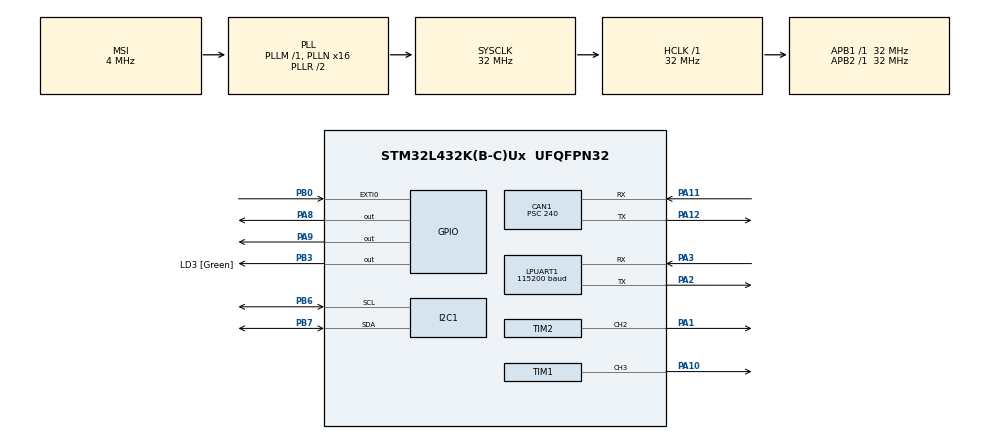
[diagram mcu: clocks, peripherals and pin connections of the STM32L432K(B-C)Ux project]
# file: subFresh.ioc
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CAN1.BS1=CAN_BS1_2TQ
CAN1.BS2=CAN_BS2_3TQ
CAN1.CalculateBaudRate=22222
CAN1.CalculateTimeBit=45000
CAN1.CalculateTimeQuantum=7500.0
CAN1.Prescaler=240
I2C1.Timing=0x00B07CB4
LPUART1.BaudRate=115200
LPUART1.WordLength=UART_WORDLENGTH_8B
Mcu.Family=STM32L4
Mcu.Name=STM32L432K(B-C)Ux
Mcu.Package=UFQFPN32
NVIC.CAN1_RX0_IRQn=true\:0\:0\:false\:false\:true\:true\:true\:true
NVIC.CAN1_RX1_IRQn=true\:0\:0\:false\:false\:true\:true\:true\:true
NVIC.CAN1_TX_IRQn=true\:0\:0\:false\:false\:true\:true\:true\:true
NVIC.EXTI0_IRQn=true\:0\:0\:false\:false\:true\:true\:true\:true
NVIC.PriorityGroup=NVIC_PRIORITYGROUP_4
NVIC.TIM6_DAC_IRQn=true\:0\:0\:false\:false\:true\:true\:true\:true
PA0.GPIO_Label=MCO [High speed clock in]
PA0.Signal=RCC_CK_IN
PA1.Signal=S_TIM2_CH2
PA10.Signal=S_TIM1_CH3
PA11.GPIO_PuPd=GPIO_PULLUP
PA11.Mode=CAN_Activate
PA11.Signal=CAN1_RX
PA12.Mode=CAN_Activate
PA12.Signal=CAN1_TX
PA13\ (JTMS-SWDIO).GPIO_Label=SWDIO
PA13\ (JTMS-SWDIO).Signal=SYS_JTMS-SWDIO
PA14\ (JTCK-SWCLK).GPIO_Label=SWCLK
PA14\ (JTCK-SWCLK).Signal=SYS_JTCK-SWCLK
PA15\ (JTDI).GPIO_Label=VCP_RX
PA15\ (JTDI).Signal=USART2_RX
PA2.Mode=Asynchronous
PA2.Signal=LPUART1_TX
PA3.Mode=Asynchronous
PA3.Signal=LPUART1_RX
PA8.GPIO_PuPd=GPIO_PULLUP
PA8.Signal=GPIO_Output
PA9.GPIO_PuPd=GPIO_PULLUP
PA9.Signal=GPIO_Output
PB0.Signal=GPXTI0
PB3\ (JTDO-TRACESWO).GPIO_Label=LD3 [Green]
PB3\ (JTDO-TRACESWO).Signal=GPIO_Output
PB6.Mode=I2C
PB6.Signal=I2C1_SCL
PB7.Mode=I2C
PB7.Signal=I2C1_SDA
PC14-OSC32_IN\ (PC14).Signal=RCC_OSC32_IN
PC15-OSC32_OUT\ (PC15).Signal=RCC_OSC32_OUT
ProjectManager.HeapSize=0x200
ProjectManager.StackSize=0x400
ProjectManager.TargetToolchain=STM32CubeIDE
RCC.AHBFreq_Value=32000000
RCC.APB1Freq_Value=32000000
RCC.APB1TimFreq_Value=32000000
RCC.APB2Freq_Value=32000000
RCC.APB2TimFreq_Value=32000000
RCC.CortexFreq_Value=32000000
RCC.HCLKFreq_Value=32000000
RCC.HSE_VALUE=8000000
RCC.HSI16_VALUE=16000000
RCC.HSI48_VALUE=48000000
RCC.HSI_VALUE=16000000
RCC.LSE_VALUE=32768
RCC.MSI_VALUE=4000000
RCC.PLLMUL=RCC_PLLMUL_4
RCC.PLLN=16
RCC.SYSCLKFreq_VALUE=32000000
RCC.SYSCLKSource=RCC_SYSCLKSOURCE_PLLCLK
RCC.VCOOutputFreq_Value=64000000
SH.S_TIM1_CH3.0=TIM1_CH3,PWM Generation3 CH3
SH.S_TIM2_CH2.0=TIM2_CH2,PWM Generation2 CH2
TIM1.Channel-PWM\ Generation3\ CH3=TIM_CHANNEL_3
TIM1.Period=1599
TIM1.Prescaler=399
TIM2.Channel-PWM\ Generation2\ CH2=TIM_CHANNEL_2
TIM2.Period=1599
TIM2.Prescaler=399
TIM6.Period=1599
TIM6.Prescaler=16999
VP_TIM1_VS_ClockSourceINT.Mode=Internal
VP_TIM2_VS_ClockSourceINT.Mode=Internal
VP_TIM6_VS_ClockSourceINT.Mode=Enable_Timer
board=NUCLEO-L432KC

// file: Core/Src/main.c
/* USER CODE BEGIN Header */
/**
  ******************************************************************************
  * @file           : main.c
  * @brief          : Main program body
  ******************************************************************************
  * @attention
  *
  * Copyright (c) 2025 STMicroelectronics.
  * All rights reserved.
  *
  * This software is licensed under terms that can be found in the LICENSE file
  * in the root directory of this software component.
  * If no LICENSE file comes with this software, it is provided AS-IS.
  *
  ******************************************************************************
  */
/* USER CODE END Header */
#include "main.h"

/* USER CODE BEGIN Includes */
#include "thrusters.h"
#include "linearActuator.h"
#include "stdio.h"
#include "can_sub.h"
#include "gyro.h"
#include "pressure.h"
#include "flowMeter.h"
/* USER CODE END Includes */

CAN_HandleTypeDef hcan1;

I2C_HandleTypeDef hi2c1;

UART_HandleTypeDef hlpuart1;

TIM_HandleTypeDef htim1;
TIM_HandleTypeDef htim2;
TIM_HandleTypeDef htim6;

/* USER CODE BEGIN PV */
PRES_TEMP pres_temp;
uint16_t pulseCount = 0;
uint8_t readCode = 0; // 0 = reading temp, 1 = reading pressure
uint32_t D1 = 0; // D1 = pressure raw data
uint32_t D2 = 0; // D2 = temp raw data
uint32_t presTempReading = 0;
/* USER CODE END PV */

void SystemClock_Config(void);
static void MX_GPIO_Init(void);
static void MX_TIM1_Init(void);
static void MX_TIM2_Init(void);
static void MX_CAN1_Init(void);
static void MX_LPUART1_UART_Init(void);
static void MX_I2C1_Init(void);
static void MX_TIM6_Init(void);

/* USER CODE BEGIN 0 */
void HAL_TIM_PeriodElapsedCallback(TIM_HandleTypeDef *htim)
{
    if (htim->Instance == TIM6)
    {
    	if(readCode){
    		D1 = read_pressure();
    		init_temp_reading();
    		readCode = 0;
    	}
    	else{
    		D2 = read_temp();
    		init_pressure_reading();
    		readCode = 1;
    	}
    	presTempReading = calculate_temp_pressure(D2,D1);
    	uint16_t gyroReading = gyroGetReading();
    	transmit_sensor_packet(gyroReading, presTempReading, pulseCount);
    	pulseCount = 0;
    }
}

/* USER CODE END 0 */

int main(void)
{

  /* MCU Configuration--------------------------------------------------------*/

  /* Reset of all peripherals, Initializes the Flash interface and the Systick. */
  HAL_Init();

  /* Configure the system clock */
  SystemClock_Config();

  /* Initialize all configured peripherals */
  MX_GPIO_Init();
  MX_TIM1_Init();
  MX_TIM2_Init();
  MX_CAN1_Init();
  MX_LPUART1_UART_Init();
  MX_I2C1_Init();
  MX_TIM6_Init();
  /* USER CODE BEGIN 2 */
  //////// ---------------- THRUSTER INIT ------------------- ////////////
  //flash_thruster(0); DO NOT RUN
  //flash_thruster(1); DO NOT RUN
  HAL_TIM_PWM_Start(&htim2, TIM_CHANNEL_2);
  HAL_TIM_PWM_Start(&htim1, TIM_CHANNEL_3);
  init_thruster(0);
  init_thruster(1);
  /////////////////////////////////////////////////////////////////////////

  ////// ------------------ CAN INIT --------------------------/////////////
  can_setup();
  //////////////////////////////////////////////////////////////////////////

  //////// -------------- PRESSURE SENSOR INIT ----------------- ////////////
  pressure_temp_Init();
  pressure_temp_calibrate();
  ///////////////////////////////////////////////////////////////////////////////

  ////// ------------------ GYRO INIT ------------------------- ///////////
  gyro_init();
  //////////////////////////////////////////////////////////////////////////

  ////////--------------TIM6 START ------------------------------/////////////
  HAL_TIM_Base_Start_IT(&htim6); // This must happen AFTER sensor initialization!!
  ////////////////////////////////////////////////////////////////////////////

  /* USER CODE END 2 */

  /* Infinite loop */
  /* USER CODE BEGIN WHILE */
  uint8_t control =0;

  set_thruster(0); //boot sequence
  set_thruster(1);
  HAL_Delay(1000);
  stop_thruster(0);
  stop_thruster(1);
  HAL_Delay(1000);
  goUp();
  HAL_Delay(1000);
  goDown();
  HAL_Delay(1000);

  stop_thruster(0);
  stop_thruster(1);
  while (1)
  {
    /* USER CODE END WHILE */

    /* USER CODE BEGIN 3 */
	control = read_control_from_CAN();
	controlThrusterStateCAN(control);
	controlThrusterSpeedCAN(control);
	controlLinearActuatorCAN(control);
  }
  /* USER CODE END 3 */
}

void SystemClock_Config(void)
{
  RCC_OscInitTypeDef RCC_OscInitStruct = {0};
  RCC_ClkInitTypeDef RCC_ClkInitStruct = {0};

  /** Configure the main internal regulator output voltage
  */
  if (HAL_PWREx_ControlVoltageScaling(PWR_REGULATOR_VOLTAGE_SCALE1) != HAL_OK)
  {
    Error_Handler();
  }

  /** Initializes the RCC Oscillators according to the specified parameters
  * in the RCC_OscInitTypeDef structure.
  */
  RCC_OscInitStruct.OscillatorType = RCC_OSCILLATORTYPE_MSI;
  RCC_OscInitStruct.MSIState = RCC_MSI_ON;
  RCC_OscInitStruct.MSICalibrationValue = 0;
  RCC_OscInitStruct.MSIClockRange = RCC_MSIRANGE_6;
  RCC_OscInitStruct.PLL.PLLState = RCC_PLL_ON;
  RCC_OscInitStruct.PLL.PLLSource = RCC_PLLSOURCE_MSI;
  RCC_OscInitStruct.PLL.PLLM = 1;
  RCC_OscInitStruct.PLL.PLLN = 16;
  RCC_OscInitStruct.PLL.PLLP = RCC_PLLP_DIV7;
  RCC_OscInitStruct.PLL.PLLQ = RCC_PLLQ_DIV2;
  RCC_OscInitStruct.PLL.PLLR = RCC_PLLR_DIV2;
  if (HAL_RCC_OscConfig(&RCC_OscInitStruct) != HAL_OK)
  {
    Error_Handler();
  }

  /** Initializes the CPU, AHB and APB buses clocks
  */
  RCC_ClkInitStruct.ClockType = RCC_CLOCKTYPE_HCLK|RCC_CLOCKTYPE_SYSCLK
                              |RCC_CLOCKTYPE_PCLK1|RCC_CLOCKTYPE_PCLK2;
  RCC_ClkInitStruct.SYSCLKSource = RCC_SYSCLKSOURCE_PLLCLK;
  RCC_ClkInitStruct.AHBCLKDivider = RCC_SYSCLK_DIV1;
  RCC_ClkInitStruct.APB1CLKDivider = RCC_HCLK_DIV1;
  RCC_ClkInitStruct.APB2CLKDivider = RCC_HCLK_DIV1;

  if (HAL_RCC_ClockConfig(&RCC_ClkInitStruct, FLASH_LATENCY_1) != HAL_OK)
  {
    Error_Handler();
  }
}

static void MX_CAN1_Init(void)
{

  hcan1.Instance = CAN1;
  hcan1.Init.Prescaler = 240;
  hcan1.Init.Mode = CAN_MODE_NORMAL;
  hcan1.Init.SyncJumpWidth = CAN_SJW_1TQ;
  hcan1.Init.TimeSeg1 = CAN_BS1_2TQ;
  hcan1.Init.TimeSeg2 = CAN_BS2_3TQ;
  hcan1.Init.TimeTriggeredMode = DISABLE;
  hcan1.Init.AutoBusOff = DISABLE;
  hcan1.Init.AutoWakeUp = DISABLE;
  hcan1.Init.AutoRetransmission = DISABLE;
  hcan1.Init.ReceiveFifoLocked = DISABLE;
  hcan1.Init.TransmitFifoPriority = DISABLE;
  if (HAL_CAN_Init(&hcan1) != HAL_OK)
  {
    Error_Handler();
  }

}

static void MX_I2C1_Init(void)
{

  hi2c1.Instance = I2C1;
  hi2c1.Init.Timing = 0x00B07CB4;
  hi2c1.Init.OwnAddress1 = 0;
  hi2c1.Init.AddressingMode = I2C_ADDRESSINGMODE_7BIT;
  hi2c1.Init.DualAddressMode = I2C_DUALADDRESS_DISABLE;
  hi2c1.Init.OwnAddress2 = 0;
  hi2c1.Init.OwnAddress2Masks = I2C_OA2_NOMASK;
  hi2c1.Init.GeneralCallMode = I2C_GENERALCALL_DISABLE;
  hi2c1.Init.NoStretchMode = I2C_NOSTRETCH_DISABLE;
  if (HAL_I2C_Init(&hi2c1) != HAL_OK)
  {
    Error_Handler();
  }

  /** Configure Analogue filter
  */
  if (HAL_I2CEx_ConfigAnalogFilter(&hi2c1, I2C_ANALOGFILTER_ENABLE) != HAL_OK)
  {
    Error_Handler();
  }

  /** Configure Digital filter
  */
  if (HAL_I2CEx_ConfigDigitalFilter(&hi2c1, 0) != HAL_OK)
  {
    Error_Handler();
  }

}

static void MX_LPUART1_UART_Init(void)
{

  hlpuart1.Instance = LPUART1;
  hlpuart1.Init.BaudRate = 115200;
  hlpuart1.Init.WordLength = UART_WORDLENGTH_8B;
  hlpuart1.Init.StopBits = UART_STOPBITS_1;
  hlpuart1.Init.Parity = UART_PARITY_NONE;
  hlpuart1.Init.Mode = UART_MODE_TX_RX;
  hlpuart1.Init.HwFlowCtl = UART_HWCONTROL_NONE;
  hlpuart1.Init.OneBitSampling = UART_ONE_BIT_SAMPLE_DISABLE;
  hlpuart1.AdvancedInit.AdvFeatureInit = UART_ADVFEATURE_NO_INIT;
  if (HAL_UART_Init(&hlpuart1) != HAL_OK)
  {
    Error_Handler();
  }

}

static void MX_TIM1_Init(void)
{

  TIM_ClockConfigTypeDef sClockSourceConfig = {0};
  TIM_MasterConfigTypeDef sMasterConfig = {0};
  TIM_OC_InitTypeDef sConfigOC = {0};
  TIM_BreakDeadTimeConfigTypeDef sBreakDeadTimeConfig = {0};

  htim1.Instance = TIM1;
  htim1.Init.Prescaler = 399;
  htim1.Init.CounterMode = TIM_COUNTERMODE_UP;
  htim1.Init.Period = 1599;
  htim1.Init.ClockDivision = TIM_CLOCKDIVISION_DIV1;
  htim1.Init.RepetitionCounter = 0;
  htim1.Init.AutoReloadPreload = TIM_AUTORELOAD_PRELOAD_DISABLE;
  if (HAL_TIM_Base_Init(&htim1) != HAL_OK)
  {
    Error_Handler();
  }
  sClockSourceConfig.ClockSource = TIM_CLOCKSOURCE_INTERNAL;
  if (HAL_TIM_ConfigClockSource(&htim1, &sClockSourceConfig) != HAL_OK)
  {
    Error_Handler();
  }
  if (HAL_TIM_PWM_Init(&htim1) != HAL_OK)
  {
    Error_Handler();
  }
  sMasterConfig.MasterOutputTrigger = TIM_TRGO_RESET;
  sMasterConfig.MasterOutputTrigger2 = TIM_TRGO2_RESET;
  sMasterConfig.MasterSlaveMode = TIM_MASTERSLAVEMODE_DISABLE;
  if (HAL_TIMEx_MasterConfigSynchronization(&htim1, &sMasterConfig) != HAL_OK)
  {
    Error_Handler();
  }
  sConfigOC.OCMode = TIM_OCMODE_PWM1;
  sConfigOC.Pulse = 0;
  sConfigOC.OCPolarity = TIM_OCPOLARITY_HIGH;
  sConfigOC.OCNPolarity = TIM_OCNPOLARITY_HIGH;
  sConfigOC.OCFastMode = TIM_OCFAST_DISABLE;
  sConfigOC.OCIdleState = TIM_OCIDLESTATE_RESET;
  sConfigOC.OCNIdleState = TIM_OCNIDLESTATE_RESET;
  if (HAL_TIM_PWM_ConfigChannel(&htim1, &sConfigOC, TIM_CHANNEL_3) != HAL_OK)
  {
    Error_Handler();
  }
  sBreakDeadTimeConfig.OffStateRunMode = TIM_OSSR_DISABLE;
  sBreakDeadTimeConfig.OffStateIDLEMode = TIM_OSSI_DISABLE;
  sBreakDeadTimeConfig.LockLevel = TIM_LOCKLEVEL_OFF;
  sBreakDeadTimeConfig.DeadTime = 0;
  sBreakDeadTimeConfig.BreakState = TIM_BREAK_DISABLE;
  sBreakDeadTimeConfig.BreakPolarity = TIM_BREAKPOLARITY_HIGH;
  sBreakDeadTimeConfig.BreakFilter = 0;
  sBreakDeadTimeConfig.Break2State = TIM_BREAK2_DISABLE;
  sBreakDeadTimeConfig.Break2Polarity = TIM_BREAK2POLARITY_HIGH;
  sBreakDeadTimeConfig.Break2Filter = 0;
  sBreakDeadTimeConfig.AutomaticOutput = TIM_AUTOMATICOUTPUT_DISABLE;
  if (HAL_TIMEx_ConfigBreakDeadTime(&htim1, &sBreakDeadTimeConfig) != HAL_OK)
  {
    Error_Handler();
  }
  HAL_TIM_MspPostInit(&htim1);

}

static void MX_TIM2_Init(void)
{

  TIM_ClockConfigTypeDef sClockSourceConfig = {0};
  TIM_MasterConfigTypeDef sMasterConfig = {0};
  TIM_OC_InitTypeDef sConfigOC = {0};

  htim2.Instance = TIM2;
  htim2.Init.Prescaler = 399;
  htim2.Init.CounterMode = TIM_COUNTERMODE_UP;
  htim2.Init.Period = 1599;
  htim2.Init.ClockDivision = TIM_CLOCKDIVISION_DIV1;
  htim2.Init.AutoReloadPreload = TIM_AUTORELOAD_PRELOAD_DISABLE;
  if (HAL_TIM_Base_Init(&htim2) != HAL_OK)
  {
    Error_Handler();
  }
  sClockSourceConfig.ClockSource = TIM_CLOCKSOURCE_INTERNAL;
  if (HAL_TIM_ConfigClockSource(&htim2, &sClockSourceConfig) != HAL_OK)
  {
    Error_Handler();
  }
  if (HAL_TIM_PWM_Init(&htim2) != HAL_OK)
  {
    Error_Handler();
  }
  sMasterConfig.MasterOutputTrigger = TIM_TRGO_RESET;
  sMasterConfig.MasterSlaveMode = TIM_MASTERSLAVEMODE_DISABLE;
  if (HAL_TIMEx_MasterConfigSynchronization(&htim2, &sMasterConfig) != HAL_OK)
  {
    Error_Handler();
  }
  sConfigOC.OCMode = TIM_OCMODE_PWM1;
  sConfigOC.Pulse = 0;
  sConfigOC.OCPolarity = TIM_OCPOLARITY_HIGH;
  sConfigOC.OCFastMode = TIM_OCFAST_DISABLE;
  if (HAL_TIM_PWM_ConfigChannel(&htim2, &sConfigOC, TIM_CHANNEL_2) != HAL_OK)
  {
    Error_Handler();
  }
  HAL_TIM_MspPostInit(&htim2);

}

static void MX_TIM6_Init(void)
{

  TIM_MasterConfigTypeDef sMasterConfig = {0};

  htim6.Instance = TIM6;
  htim6.Init.Prescaler = 16999;
  htim6.Init.CounterMode = TIM_COUNTERMODE_UP;
  htim6.Init.Period = 1599;
  htim6.Init.AutoReloadPreload = TIM_AUTORELOAD_PRELOAD_DISABLE;
  if (HAL_TIM_Base_Init(&htim6) != HAL_OK)
  {
    Error_Handler();
  }
  sMasterConfig.MasterOutputTrigger = TIM_TRGO_RESET;
  sMasterConfig.MasterSlaveMode = TIM_MASTERSLAVEMODE_DISABLE;
  if (HAL_TIMEx_MasterConfigSynchronization(&htim6, &sMasterConfig) != HAL_OK)
  {
    Error_Handler();
  }

}

static void MX_GPIO_Init(void)
{
  GPIO_InitTypeDef GPIO_InitStruct = {0};

  /* GPIO Ports Clock Enable */
  __HAL_RCC_GPIOC_CLK_ENABLE();
  __HAL_RCC_GPIOA_CLK_ENABLE();
  __HAL_RCC_GPIOB_CLK_ENABLE();

  /*Configure GPIO pin Output Level */
  HAL_GPIO_WritePin(GPIOA, GPIO_PIN_8|GPIO_PIN_9, GPIO_PIN_RESET);

  /*Configure GPIO pin Output Level */
  HAL_GPIO_WritePin(LD3_GPIO_Port, LD3_Pin, GPIO_PIN_RESET);

  /*Configure GPIO pin : PB0 */
  GPIO_InitStruct.Pin = GPIO_PIN_0;
  GPIO_InitStruct.Mode = GPIO_MODE_IT_RISING;
  GPIO_InitStruct.Pull = GPIO_NOPULL;
  HAL_GPIO_Init(GPIOB, &GPIO_InitStruct);

  /*Configure GPIO pins : PA8 PA9 */
  GPIO_InitStruct.Pin = GPIO_PIN_8|GPIO_PIN_9;
  GPIO_InitStruct.Mode = GPIO_MODE_OUTPUT_PP;
  GPIO_InitStruct.Pull = GPIO_PULLUP;
  GPIO_InitStruct.Speed = GPIO_SPEED_FREQ_LOW;
  HAL_GPIO_Init(GPIOA, &GPIO_InitStruct);

  /*Configure GPIO pin : VCP_RX_Pin */
  GPIO_InitStruct.Pin = VCP_RX_Pin;
  GPIO_InitStruct.Mode = GPIO_MODE_AF_PP;
  GPIO_InitStruct.Pull = GPIO_NOPULL;
  GPIO_InitStruct.Speed = GPIO_SPEED_FREQ_VERY_HIGH;
  GPIO_InitStruct.Alternate = GPIO_AF3_USART2;
  HAL_GPIO_Init(VCP_RX_GPIO_Port, &GPIO_InitStruct);

  /*Configure GPIO pin : LD3_Pin */
  GPIO_InitStruct.Pin = LD3_Pin;
  GPIO_InitStruct.Mode = GPIO_MODE_OUTPUT_PP;
  GPIO_InitStruct.Pull = GPIO_NOPULL;
  GPIO_InitStruct.Speed = GPIO_SPEED_FREQ_LOW;
  HAL_GPIO_Init(LD3_GPIO_Port, &GPIO_InitStruct);

  /* EXTI interrupt init*/
  HAL_NVIC_SetPriority(EXTI0_IRQn, 0, 0);
  HAL_NVIC_EnableIRQ(EXTI0_IRQn);

}

/* USER CODE BEGIN 4 */
#ifdef __GNUC__
#define PUTCHAR_PROTOTYPE int __io_putchar(int ch)
#else
  #define PUTCHAR_PROTOTYPE int fputc(int ch, FILE *f)
#endif /* __GNUC__ */
PUTCHAR_PROTOTYPE
{
  HAL_UART_Transmit(&hlpuart1, (uint8_t *)&ch, 1, 0xFFFF);
  return ch;
}
/* USER CODE END 4 */

void Error_Handler(void)
{
  __disable_irq();
  while (1)
  {
  }
}
